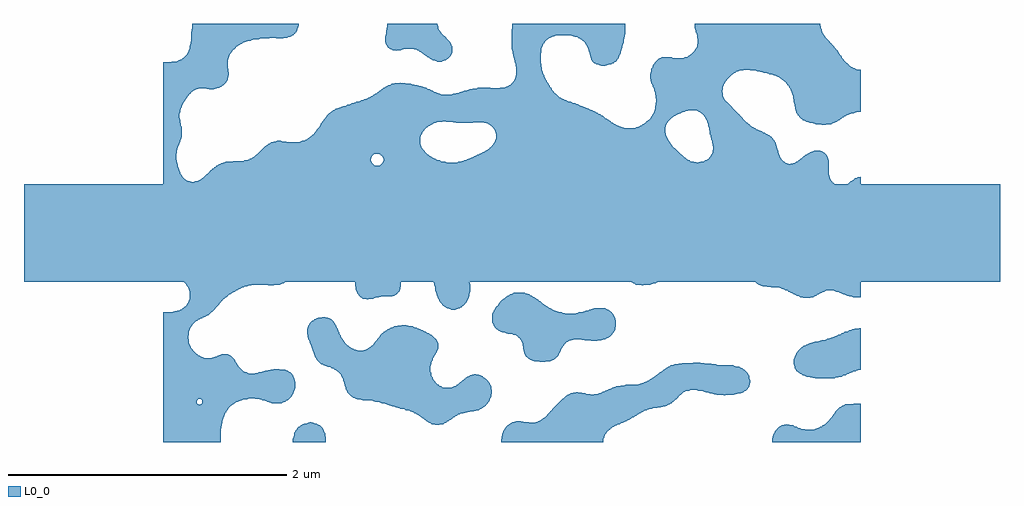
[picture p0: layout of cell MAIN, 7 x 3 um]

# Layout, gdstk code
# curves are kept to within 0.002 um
import gdstk
lib = gdstk.Library(unit=1e-6, precision=1e-09)
def R(c, l, rs):  # rectangles x0, y0, x1, y1
    for r in rs: c.add(gdstk.rectangle(r[:2], r[2:], *l))
def P(c, l, *ps):  # polygons
    for p in ps: c.add(gdstk.Polygon(p, *l))
L0_0 = (0, 0)

main = lib.new_cell('MAIN')
R(main, L0_0, [(-3.5,-0.35,3.5,0.35)])
P(main, L0_0, [(-0.51,1.23),(-0.474,1.24),(-0.46,1.249),(-0.44,1.27),(-0.43,1.293),(-0.429,1.33),(-0.44,1.361),(-0.47,1.397),(-0.503,1.43),(-0.525,1.46),(-0.535,1.5),(-0.894,1.5),(-0.903,1.43),(-0.91,1.404),(-0.91,1.378),(-0.9,1.346),(-0.89,1.332),(-0.876,1.32),(-0.855,1.31),(-0.83,1.308),(-0.799,1.31),(-0.78,1.317),(-0.73,1.322),(-0.69,1.317),(-0.68,1.31),(-0.67,1.308),(-0.603,1.26),(-0.569,1.24),(-0.536,1.23)],
  [(-1.07,-0.844),(-1.1,-0.844),(-1.13,-0.837),(-1.15,-0.827),(-1.18,-0.805),(-1.218,-0.76),(-1.27,-0.649),(-1.29,-0.627),(-1.314,-0.61),(-1.35,-0.603),(-1.396,-0.61),(-1.43,-0.629),(-1.451,-0.65),(-1.46,-0.664),(-1.47,-0.697),(-1.47,-0.72),(-1.46,-0.761),(-1.454,-0.77),(-1.45,-0.788),(-1.432,-0.83),(-1.42,-0.87),(-1.4,-0.909),(-1.38,-0.931),(-1.367,-0.94),(-1.321,-0.96),(-1.3,-0.964),(-1.291,-0.97),(-1.28,-0.972),(-1.26,-0.984),(-1.232,-1.01),(-1.214,-1.04),(-1.204,-1.07),(-1.2,-1.094),(-1.181,-1.14),(-1.16,-1.164),(-1.14,-1.18),(-1.116,-1.19),(-1.07,-1.199)],
  [(-0.569,-1.04),(-0.578,-1.02),(-0.586,-0.98),(-0.579,-0.93),(-0.569,-0.907),(-0.569,-0.74),(-0.598,-0.72),(-0.683,-0.68),(-0.712,-0.67),(-0.78,-0.66),(-0.84,-0.669),(-0.871,-0.68),(-0.891,-0.69),(-0.93,-0.72),(-1.01,-0.814),(-1.04,-0.834),(-1.07,-0.844),(-1.07,-1.199),(-1,-1.204),(-0.978,-1.21),(-0.95,-1.213),(-0.933,-1.22),(-0.91,-1.224),(-0.9,-1.23),(-0.88,-1.234),(-0.868,-1.24),(-0.85,-1.243),(-0.835,-1.25),(-0.82,-1.252),(-0.8,-1.26),(-0.78,-1.262),(-0.761,-1.27),(-0.74,-1.273),(-0.69,-1.294),(-0.66,-1.312),(-0.61,-1.351),(-0.569,-1.371)],
  [(-0.567,-0.9),(-0.54,-0.855),(-0.53,-0.831),(-0.529,-0.8),(-0.53,-0.79),(-0.539,-0.77),(-0.569,-0.74),(-0.569,-0.907)],
  [(-0.52,-1.375),(-0.492,-1.37),(-0.472,-1.36),(-0.39,-1.305),(-0.36,-1.293),(-0.336,-1.29),(-0.32,-1.284),(-0.275,-1.28),(-0.239,-1.27),(-0.219,-1.26),(-0.192,-1.24),(-0.16,-1.2),(-0.15,-1.176),(-0.146,-1.14),(-0.15,-1.099),(-0.159,-1.08),(-0.18,-1.053),(-0.208,-1.03),(-0.23,-1.019),(-0.27,-1.014),(-0.301,-1.02),(-0.32,-1.03),(-0.4,-1.094),(-0.43,-1.108),(-0.46,-1.111),(-0.49,-1.109),(-0.52,-1.096),(-0.558,-1.06),(-0.569,-1.04),(-0.569,-1.371),(-0.54,-1.376)],
  [(2.31,-1.04),(2.364,-1.03),(2.38,-1.022),(2.392,-1.02),(2.45,-0.992),(2.5,-0.982),(2.5,-0.683),(2.443,-0.69),(2.4,-0.708),(2.388,-0.71),(2.38,-0.716),(2.364,-0.72),(2.33,-0.737),(2.29,-0.75),(2.28,-0.756),(2.2,-0.777),(2.17,-0.78),(2.109,-0.8),(2.091,-0.81),(2.06,-0.837),(2.05,-0.848),(2.03,-0.881),(2.02,-0.916),(2.02,-0.943),(2.029,-0.97),(2.04,-0.987),(2.067,-1.01),(2.085,-1.02),(2.1,-1.023),(2.114,-1.03),(2.175,-1.04)],
  [(0.654,-1.49),(0.664,-1.45),(0.687,-1.42),(0.71,-1.401),(0.76,-1.373),(0.773,-1.37),(0.838,-1.34),(0.92,-1.291),(0.92,-1.082),(0.9,-1.088),(0.816,-1.09),(0.749,-1.1),(0.695,-1.12),(0.64,-1.147),(0.6,-1.158),(0.55,-1.158),(0.524,-1.15),(0.47,-1.143),(0.42,-1.15),(0.401,-1.16),(0.363,-1.19),(0.31,-1.241),(0.237,-1.32),(0.2,-1.347),(0.18,-1.356),(0.15,-1.36),(0.11,-1.359),(0.061,-1.35),(0.035,-1.35),(0,-1.359),(-0.02,-1.37),(-0.05,-1.401),(-0.07,-1.44),(-0.076,-1.5),(0.654,-1.5)],
  [(0.923,-1.29),(0.93,-1.284),(0.98,-1.263),(1.03,-1.252),(1.067,-1.25),(1.109,-1.24),(1.13,-1.23),(1.157,-1.21),(1.2,-1.167),(1.23,-1.143),(1.25,-1.133),(1.28,-1.126),(1.32,-1.125),(1.336,-1.13),(1.36,-1.132),(1.417,-1.15),(1.48,-1.161),(1.591,-1.16),(1.64,-1.15),(1.676,-1.13),(1.701,-1.1),(1.708,-1.06),(1.7,-1.025),(1.68,-0.995),(1.651,-0.97),(1.631,-0.96),(1.588,-0.95),(1.48,-0.947),(1.45,-0.94),(1.35,-0.932),(1.24,-0.934),(1.169,-0.94),(1.12,-0.96),(0.98,-1.058),(0.94,-1.077),(0.92,-1.082),(0.92,-1.291)],
  [(2.5,-1.224),(2.45,-1.224),(2.39,-1.23),(2.367,-1.24),(2.35,-1.25),(2.329,-1.27),(2.278,-1.34),(2.25,-1.367),(2.22,-1.388),(2.17,-1.408),(2.13,-1.412),(2.09,-1.409),(2.05,-1.396),(2.016,-1.38),(1.99,-1.375),(1.97,-1.373),(1.935,-1.38),(1.91,-1.397),(1.889,-1.42),(1.88,-1.435),(1.87,-1.459),(1.868,-1.5),(2.5,-1.5)],
  [(-1.336,-1.48),(-1.34,-1.438),(-1.35,-1.415),(-1.359,-1.4),(-1.38,-1.379),(-1.396,-1.37),(-1.427,-1.36),(-1.463,-1.36),(-1.497,-1.37),(-1.529,-1.39),(-1.54,-1.401),(-1.56,-1.434),(-1.57,-1.468),(-1.571,-1.5),(-1.336,-1.5)],
  [(-2.38,-0.029),(-2.339,-0.02),(-2.305,0.002),(-2.305,0.368),(-2.32,0.371),(-2.34,0.382),(-2.36,0.401),(-2.374,0.42),(-2.398,0.48),(-2.4,0.503),(-2.406,0.52),(-2.408,0.55),(-2.406,0.58),(-2.396,0.62),(-2.39,0.629),(-2.37,0.686),(-2.37,0.761),(-2.377,0.78),(-2.385,0.83),(-2.385,0.85),(-2.377,0.89),(-2.348,0.95),(-2.327,0.98),(-2.305,1.004),(-2.305,1.36),(-2.313,1.32),(-2.326,1.29),(-2.341,1.27),(-2.36,1.253),(-2.4,1.233),(-2.45,1.225),(-2.5,1.224),(-2.5,-0.02),(-2.45,-0.021),(-2.4,-0.029)],
  [(-2.305,-1.5),(-2.305,-0.818),(-2.317,-0.79),(-2.322,-0.75),(-2.316,-0.7),(-2.305,-0.677),(-2.305,-0.153),(-2.341,-0.16),(-2.371,-0.18),(-2.39,-0.203),(-2.4,-0.228),(-2.401,-0.24),(-2.4,-0.27),(-2.39,-0.297),(-2.37,-0.328),(-2.336,-0.37),(-2.323,-0.39),(-2.315,-0.41),(-2.311,-0.43),(-2.311,-0.46),(-2.314,-0.48),(-2.323,-0.5),(-2.35,-0.533),(-2.37,-0.548),(-2.39,-0.557),(-2.45,-0.567),(-2.5,-0.567),(-2.5,-1.5)],
  [(-2.299,1.01),(-2.28,1.025),(-2.25,1.036),(-2.22,1.038),(-2.15,1.03),(-2.105,1.04),(-2.082,1.052),(-2.082,1.5),(-2.293,1.5),(-2.305,1.36),(-2.305,1.004)],
  [(-2.3,0.006),(-2.25,0.044),(-2.23,0.057),(-2.217,0.06),(-2.21,0.065),(-2.16,0.074),(-2.082,0.078),(-2.082,0.501),(-2.106,0.49),(-2.136,0.47),(-2.21,0.401),(-2.25,0.374),(-2.28,0.366),(-2.305,0.368),(-2.305,0.002)],
  [(-2.3,-0.671),(-2.294,-0.66),(-2.27,-0.636),(-2.25,-0.622),(-2.18,-0.589),(-2.15,-0.565),(-2.082,-0.488),(-2.082,-0.133),(-2.13,-0.159),(-2.16,-0.168),(-2.21,-0.167),(-2.229,-0.16),(-2.29,-0.152),(-2.305,-0.153),(-2.305,-0.677)],
  [(-2.089,-1.44),(-2.085,-1.39),(-2.082,-1.383),(-2.082,-0.87),(-2.15,-0.895),(-2.17,-0.898),(-2.2,-0.897),(-2.25,-0.877),(-2.28,-0.85),(-2.305,-0.818),(-2.305,-1.21),(-2.262,-1.21),(-2.259,-1.2),(-2.25,-1.19),(-2.24,-1.188),(-2.23,-1.191),(-2.222,-1.2),(-2.22,-1.21),(-2.223,-1.22),(-2.23,-1.229),(-2.24,-1.233),(-2.251,-1.23),(-2.26,-1.22),(-2.262,-1.21),(-2.305,-1.21),(-2.305,-1.5),(-2.089,-1.5)],
  [(-2.08,1.054),(-2.07,1.06),(-2.05,1.08),(-2.039,1.1),(-2.033,1.14),(-2.039,1.23),(-2.036,1.25),(-2.024,1.28),(-2.003,1.31),(-1.96,1.348),(-1.93,1.364),(-1.89,1.378),(-1.89,1.5),(-2.082,1.5),(-2.082,1.052)],
  [(-1.93,0.516),(-2.053,0.51),(-2.082,0.501),(-2.082,0.078),(-2.062,0.08),(-2.035,0.09),(-2,0.109),(-1.94,0.148),(-1.91,0.16),(-1.9,0.167),(-1.89,0.169),(-1.89,0.525)],
  [(-2.07,-0.476),(-2.03,-0.444),(-1.98,-0.413),(-1.949,-0.4),(-1.94,-0.393),(-1.91,-0.383),(-1.89,-0.38),(-1.89,-0.21),(-1.91,-0.207),(-1.93,-0.196),(-1.99,-0.14),(-2.006,-0.13),(-2.04,-0.122),(-2.082,-0.133),(-2.082,-0.488)],
  [(-2.081,-1.38),(-2.077,-1.35),(-2.064,-1.31),(-2.036,-1.26),(-2.02,-1.243),(-1.98,-1.214),(-1.96,-1.205),(-1.938,-1.2),(-1.93,-1.195),(-1.89,-1.19),(-1.89,-1.006),(-1.92,-0.995),(-1.939,-0.98),(-1.967,-0.95),(-1.989,-0.91),(-2.006,-0.89),(-2.018,-0.88),(-2.04,-0.869),(-2.082,-0.87)],
  [(-1.88,1.379),(-1.85,1.388),(-1.817,1.39),(-1.8,1.395),(-1.77,1.398),(-1.62,1.399),(-1.62,1.5),(-1.89,1.5),(-1.89,1.378)],
  [(-1.62,0.653),(-1.658,0.66),(-1.683,0.66),(-1.725,0.65),(-1.76,0.63),(-1.84,0.553),(-1.87,0.533),(-1.89,0.525),(-1.89,0.52),(-1.62,0.52)],
  [(-1.883,0.17),(-1.73,0.218),(-1.69,0.221),(-1.66,0.219),(-1.63,0.208),(-1.62,0.2),(-1.62,0.52),(-1.89,0.52),(-1.89,0.169)],
  [(-1.88,-0.375),(-1.84,-0.371),(-1.71,-0.373),(-1.667,-0.37),(-1.62,-0.351),(-1.62,-0.007),(-1.672,-0.04),(-1.694,-0.06),(-1.73,-0.1),(-1.772,-0.16),(-1.81,-0.195),(-1.84,-0.209),(-1.87,-0.213),(-1.89,-0.21),(-1.89,-0.38)],
  [(-1.85,-1.186),(-1.8,-1.194),(-1.724,-1.22),(-1.7,-1.222),(-1.652,-1.22),(-1.62,-1.204),(-1.62,-0.985),(-1.628,-0.98),(-1.67,-0.976),(-1.71,-0.978),(-1.777,-0.99),(-1.79,-0.996),(-1.818,-1),(-1.84,-1.007),(-1.89,-1.006),(-1.89,-1.19)],
  [(-1.612,1.4),(-1.585,1.41),(-1.57,1.419),(-1.549,1.44),(-1.54,1.455),(-1.53,1.489),(-1.53,1.5),(-1.62,1.5),(-1.62,1.399)],
  [(-1.19,0.914),(-1.211,0.91),(-1.263,0.89),(-1.308,0.86),(-1.35,0.812),(-1.405,0.73),(-1.44,0.694),(-1.47,0.673),(-1.52,0.653),(-1.56,0.65),(-1.62,0.653),(-1.62,0.52),(-1.18,0.52),(-1.18,0.92)],
  [(-1.617,-0.35),(-1.599,-0.34),(-1.55,-0.302),(-1.52,-0.285),(-1.48,-0.273),(-1.44,-0.27),(-1.403,-0.26),(-1.386,-0.25),(-1.37,-0.236),(-1.35,-0.207),(-1.335,-0.16),(-1.317,-0.12),(-1.291,-0.09),(-1.27,-0.073),(-1.25,-0.064),(-1.23,-0.061),(-1.2,-0.062),(-1.18,-0.07),(-1.18,0.52),(-1.62,0.52),(-1.62,0.2),(-1.607,0.19),(-1.582,0.16),(-1.564,0.12),(-1.561,0.1),(-1.562,0.07),(-1.574,0.04),(-1.62,-0.007),(-1.62,-0.351)],
  [(-1.611,-1.2),(-1.58,-1.17),(-1.57,-1.153),(-1.56,-1.132),(-1.553,-1.09),(-1.56,-1.042),(-1.57,-1.024),(-1.59,-1),(-1.62,-0.985),(-1.62,-1.204)],
  [(-0.659,0.68),(-0.656,0.695),(-0.656,1.052),(-0.679,1.06),(-0.71,1.064),(-0.726,1.07),(-0.8,1.077),(-0.861,1.07),(-0.87,1.064),(-0.886,1.06),(-0.92,1.041),(-0.97,1.003),(-1.02,0.973),(-1.07,0.953),(-1.117,0.94),(-1.13,0.933),(-1.148,0.93),(-1.16,0.923),(-1.18,0.92),(-1.18,0.65),(-0.659,0.65)],
  [(-1,-0.471),(-0.98,-0.463),(-0.94,-0.456),(-0.85,-0.451),(-0.828,-0.44),(-0.81,-0.421),(-0.8,-0.4),(-0.797,-0.35),(-0.8,-0.297),(-0.805,-0.28),(-0.807,-0.25),(-0.806,-0.23),(-0.794,-0.19),(-0.77,-0.16),(-0.75,-0.144),(-0.74,-0.141),(-0.71,-0.138),(-0.68,-0.142),(-0.656,-0.151),(-0.656,0.63),(-0.659,0.65),(-1.18,0.65),(-1.18,0.52),(-1.014,0.52),(-1.014,0.53),(-1.006,0.55),(-0.99,0.564),(-0.97,0.569),(-0.95,0.566),(-0.941,0.56),(-0.923,0.54),(-0.921,0.53),(-0.923,0.51),(-0.929,0.5),(-0.95,0.484),(-0.96,0.482),(-0.98,0.483),(-0.99,0.488),(-1.004,0.5),(-1.014,0.52),(-1.18,0.52),(-1.18,-0.07),(-1.16,-0.081),(-1.123,-0.12),(-1.113,-0.14),(-1.104,-0.17),(-1.103,-0.22),(-1.115,-0.28),(-1.12,-0.29),(-1.122,-0.31),(-1.124,-0.37),(-1.12,-0.406),(-1.11,-0.431),(-1.1,-0.445),(-1.07,-0.47),(-1.04,-0.474)],
  [(-0.654,0.7),(-0.638,0.73),(-0.619,0.75),(-0.6,0.766),(-0.56,0.788),(-0.546,0.79),(-0.53,0.797),(-0.49,0.8),(-0.41,0.794),(-0.41,1),(-0.44,0.992),(-0.48,0.991),(-0.51,0.995),(-0.56,1.013),(-0.569,1.02),(-0.614,1.04),(-0.641,1.05),(-0.656,1.052),(-0.656,0.695)],
  [(-0.41,-0.115),(-0.45,-0.097),(-0.47,-0.082),(-0.484,-0.07),(-0.508,-0.04),(-0.537,0.01),(-0.54,0.023),(-0.545,0.03),(-0.551,0.07),(-0.548,0.1),(-0.53,0.13),(-0.5,0.157),(-0.438,0.19),(-0.41,0.212),(-0.41,0.504),(-0.44,0.503),(-0.5,0.512),(-0.56,0.535),(-0.59,0.552),(-0.62,0.577),(-0.647,0.61),(-0.656,0.63),(-0.656,-0.151),(-0.63,-0.164),(-0.61,-0.18),(-0.582,-0.21),(-0.572,-0.23),(-0.564,-0.26),(-0.56,-0.357),(-0.55,-0.412),(-0.54,-0.446),(-0.519,-0.49),(-0.493,-0.52),(-0.465,-0.54),(-0.434,-0.55),(-0.41,-0.55)],
  [(-0.12,0.727),(-0.114,0.71),(-0.113,0.69),(-0.124,0.65),(-0.147,0.62),(-0.18,0.593),(-0.22,0.572),(-0.251,0.56),(-0.26,0.553),(-0.27,0.551),(-0.28,0.544),(-0.33,0.523),(-0.36,0.513),(-0.41,0.504),(-0.41,0.212),(-0.349,0.27),(-0.33,0.284),(-0.29,0.297),(-0.26,0.296),(-0.23,0.285),(-0.2,0.266),(-0.17,0.238),(-0.12,0.183),(-0.086,0.152),(-0.086,1.04),(-0.1,1.037),(-0.18,1.041),(-0.246,1.04),(-0.303,1.03),(-0.32,1.023),(-0.342,1.02),(-0.35,1.015),(-0.375,1.01),(-0.39,1.003),(-0.41,1),(-0.41,0.794),(-0.38,0.789),(-0.3,0.789),(-0.24,0.796),(-0.21,0.795),(-0.18,0.788),(-0.16,0.778),(-0.138,0.76),(-0.123,0.74)],
  [(-0.4,-0.548),(-0.376,-0.54),(-0.36,-0.531),(-0.329,-0.5),(-0.32,-0.485),(-0.309,-0.46),(-0.3,-0.421),(-0.3,-0.375),(-0.306,-0.35),(-0.31,-0.309),(-0.316,-0.29),(-0.32,-0.228),(-0.33,-0.181),(-0.34,-0.161),(-0.36,-0.139),(-0.392,-0.12),(-0.41,-0.115),(-0.41,-0.55)],
  [(0.328,0.984),(0.301,1.01),(0.272,1.05),(0.233,1.12),(0.214,1.17),(0.205,1.24),(0.205,1.28),(0.211,1.32),(0.213,1.33),(0.228,1.36),(0.25,1.386),(0.27,1.399),(0.29,1.408),(0.328,1.418),(0.328,1.5),(0,1.5),(-0.003,1.4),(-0.001,1.32),(0.01,1.266),(0.017,1.25),(0.02,1.223),(0.028,1.2),(0.028,1.12),(0.014,1.09),(-0.01,1.065),(-0.03,1.052),(-0.041,1.05),(-0.05,1.044),(-0.086,1.04),(-0.086,0.74),(0.328,0.74)],
  [(0.09,-0.213),(0.112,-0.21),(0.133,-0.2),(0.23,-0.132),(0.328,-0.088),(0.328,0.11),(0.323,0.12),(0.314,0.16),(0.315,0.18),(0.323,0.21),(0.328,0.218),(0.328,0.74),(-0.086,0.74),(-0.086,0.152),(-0.033,0.1),(-0.022,0.08),(-0.019,0.05),(-0.022,0.02),(-0.04,-0.025),(-0.049,-0.07),(-0.049,-0.09),(-0.04,-0.132),(-0.03,-0.154),(-0.02,-0.17),(0,-0.191),(0.03,-0.21),(0.06,-0.215)],
  [(0.69,1.206),(0.712,1.21),(0.73,1.219),(0.75,1.237),(0.77,1.266),(0.771,1.5),(0.328,1.5),(0.328,1.418),(0.4,1.419),(0.43,1.416),(0.444,1.41),(0.46,1.408),(0.5,1.387),(0.527,1.36),(0.539,1.34),(0.548,1.32),(0.56,1.267),(0.57,1.244),(0.59,1.219),(0.605,1.21),(0.639,1.2),(0.67,1.2)],
  [(0.771,0.764),(0.72,0.791),(0.65,0.84),(0.596,0.87),(0.503,0.91),(0.49,0.913),(0.479,0.92),(0.38,0.953),(0.37,0.96),(0.36,0.962),(0.328,0.984),(0.328,0.74),(0.771,0.74)],
  [(0.7,0.186),(0.76,0.19),(0.771,0.194),(0.771,0.74),(0.328,0.74),(0.328,0.218),(0.332,0.23),(0.346,0.25),(0.38,0.284),(0.4,0.297),(0.42,0.305),(0.45,0.309),(0.47,0.307),(0.5,0.296),(0.53,0.276),(0.59,0.219),(0.62,0.199),(0.639,0.19),(0.68,0.185)],
  [(0.33,-0.086),(0.351,-0.07),(0.37,-0.042),(0.375,0),(0.37,0.031),(0.328,0.11),(0.328,-0.088)],
  [(0.773,1.28),(0.78,1.291),(0.783,1.31),(0.79,1.327),(0.793,1.35),(0.8,1.366),(0.81,1.416),(0.813,1.5),(0.771,1.5),(0.771,1.27)],
  [(1.1,0.748),(1.102,0.77),(1.112,0.79),(1.127,0.81),(1.15,0.829),(1.15,1.258),(1.12,1.262),(1.074,1.26),(1.054,1.25),(1.03,1.229),(1.01,1.199),(1,1.177),(0.99,1.136),(0.99,1.116),(1,1.075),(1.026,1.01),(1.033,0.96),(1.027,0.89),(1.017,0.86),(1.006,0.84),(0.97,0.801),(0.95,0.785),(0.91,0.763),(0.88,0.753),(0.84,0.75),(0.81,0.752),(0.771,0.764),(0.771,0.74),(1.099,0.74)],
  [(1.15,0.626),(1.123,0.66),(1.12,0.67),(1.112,0.68),(1.11,0.691),(1.104,0.7),(1.099,0.74),(0.771,0.74),(0.771,0.194),(0.811,0.2),(0.82,0.205),(0.844,0.21),(0.93,0.246),(0.98,0.251),(1.01,0.245),(1.04,0.221),(1.056,0.2),(1.067,0.17),(1.07,0.144),(1.08,0.109),(1.1,0.069),(1.138,0.01),(1.15,-0.023)],
  [(2.24,-0.42),(2.26,-0.412),(2.31,-0.413),(2.404,-0.45),(2.449,-0.46),(2.5,-0.461),(2.5,-0.059),(2.4,-0.058),(2.37,-0.048),(2.35,-0.037),(2.315,0),(2.305,0.02),(2.294,0.07),(2.295,0.09),(2.303,0.12),(2.322,0.15),(2.35,0.175),(2.37,0.185),(2.42,0.198),(2.5,0.199),(2.5,0.402),(2.479,0.4),(2.458,0.39),(2.41,0.353),(2.39,0.343),(2.35,0.339),(2.33,0.342),(2.31,0.353),(2.286,0.38),(2.274,0.41),(2.271,0.43),(2.27,0.522),(2.261,0.55),(2.245,0.57),(2.233,0.58),(2.22,0.585),(2.22,-0.429),(2.23,-0.422)],
  [(1.522,1.07),(1.533,1.09),(1.59,1.146),(1.61,1.157),(1.65,1.169),(1.7,1.17),(1.75,1.165),(1.76,1.16),(1.79,1.156),(1.804,1.15),(1.87,1.136),(1.879,1.13),(1.9,1.124),(1.931,1.107),(1.931,1.5),(1.52,1.5),(1.52,1.063)],
  [(1.875,-0.02),(1.882,0.02),(1.892,0.04),(1.908,0.06),(1.931,0.079),(1.931,0.53),(1.915,0.56),(1.9,0.623),(1.89,0.649),(1.859,0.69),(1.831,0.71),(1.75,0.745),(1.72,0.762),(1.69,0.786),(1.54,0.94),(1.524,0.96),(1.52,0.97),(1.52,-0.03),(1.875,-0.03)],
  [(1.931,-0.126),(1.92,-0.118),(1.895,-0.09),(1.884,-0.07),(1.875,-0.03),(1.52,-0.03),(1.52,-0.198),(1.55,-0.213),(1.66,-0.285),(1.7,-0.313),(1.74,-0.35),(1.77,-0.371),(1.789,-0.38),(1.86,-0.39),(1.92,-0.393),(1.931,-0.398)],
  [(2.215,1.47),(2.212,1.5),(1.931,1.5),(1.931,1.107),(1.963,1.08),(1.988,1.05),(1.998,1.03),(2.016,0.98),(2.03,0.89),(2.036,0.88),(2.04,0.862),(2.06,0.832),(2.087,0.81),(2.135,0.79),(2.17,0.785),(2.182,0.78),(2.22,0.777),(2.22,1.46)],
  [(2.14,-0.463),(2.161,-0.46),(2.22,-0.429),(2.22,0.585),(2.2,0.591),(2.169,0.59),(2.14,0.58),(2.107,0.56),(2.05,0.514),(2.03,0.503),(2.01,0.497),(1.99,0.494),(1.96,0.503),(1.931,0.53),(1.931,0.079),(1.96,0.096),(2,0.106),(2.03,0.108),(2.07,0.099),(2.09,0.088),(2.126,0.05),(2.135,0.03),(2.147,-0.02),(2.145,-0.05),(2.136,-0.08),(2.11,-0.113),(2.08,-0.134),(2.04,-0.147),(1.99,-0.148),(1.95,-0.137),(1.931,-0.126),(1.931,-0.398),(1.95,-0.403),(2.001,-0.43),(2.01,-0.432),(2.02,-0.44),(2.06,-0.454),(2.069,-0.46),(2.11,-0.465)],
  [(2.29,0.78),(2.332,0.8),(2.37,0.827),(2.41,0.849),(2.46,0.864),(2.5,0.868),(2.5,1.171),(2.47,1.174),(2.45,1.182),(2.43,1.193),(2.39,1.23),(2.372,1.25),(2.33,1.312),(2.243,1.41),(2.225,1.44),(2.22,1.459),(2.22,0.777),(2.25,0.776)],
  [(1.52,0.7),(1.424,0.7),(1.43,0.67),(1.438,0.65),(1.442,0.62),(1.443,0.6),(1.437,0.57),(1.425,0.55),(1.41,0.534),(1.37,0.512),(1.33,0.505),(1.28,0.515),(1.25,0.532),(1.22,0.556),(1.18,0.593),(1.15,0.626),(1.15,-0.023),(1.155,-0.03),(1.17,-0.073),(1.186,-0.1),(1.207,-0.12),(1.225,-0.13),(1.303,-0.16),(1.32,-0.163),(1.335,-0.17),(1.4,-0.18),(1.47,-0.182),(1.52,-0.198)],
  [(1.52,0.971),(1.513,0.98),(1.509,1.01),(1.513,1.05),(1.52,1.063),(1.52,1.5),(1.309,1.5),(1.31,1.47),(1.327,1.42),(1.334,1.38),(1.328,1.34),(1.319,1.32),(1.29,1.285),(1.25,1.261),(1.241,1.26),(1.23,1.254),(1.21,1.252),(1.18,1.252),(1.15,1.258),(1.15,0.829),(1.16,0.837),(1.2,0.857),(1.25,0.876),(1.29,0.881),(1.33,0.877),(1.35,0.867),(1.369,0.85),(1.386,0.83),(1.397,0.81),(1.407,0.78),(1.42,0.709),(1.424,0.7),(1.52,0.7)],
  [(0.99,-0.37),(1.028,-0.36),(1.073,-0.34),(1.105,-0.32),(1.13,-0.298),(1.151,-0.26),(1.152,-0.22),(1.15,-0.208),(1.141,-0.19),(1.118,-0.17),(1.092,-0.16),(1.03,-0.153),(0.95,-0.157),(0.92,-0.153),(0.89,-0.144),(0.86,-0.121),(0.844,-0.1),(0.822,-0.05),(0.82,-0.039),(0.8,-0.01),(0.785,0),(0.77,0.003),(0.744,0),(0.73,-0.011),(0.72,-0.03),(0.72,-0.07),(0.74,-0.112),(0.787,-0.17),(0.806,-0.2),(0.826,-0.26),(0.83,-0.295),(0.84,-0.325),(0.85,-0.342),(0.87,-0.361),(0.89,-0.371),(0.94,-0.375)],
  [(0.27,-0.92),(0.27,-0.539),(0.22,-0.506),(0.161,-0.46),(0.123,-0.44),(0.093,-0.43),(0.013,-0.43),(-0.03,-0.449),(-0.08,-0.491),(-0.12,-0.54),(-0.131,-0.56),(-0.14,-0.58),(-0.142,-0.63),(-0.14,-0.644),(-0.13,-0.665),(-0.11,-0.69),(-0.077,-0.71),(-0.042,-0.72),(0,-0.724),(0.03,-0.734),(0.05,-0.75),(0.068,-0.77),(0.076,-0.79),(0.08,-0.828),(0.09,-0.868),(0.1,-0.884),(0.131,-0.91),(0.17,-0.921),(0.24,-0.923)],
  [(0.273,-0.92),(0.297,-0.91),(0.322,-0.89),(0.34,-0.864),(0.355,-0.83),(0.374,-0.8),(0.39,-0.785),(0.41,-0.773),(0.45,-0.763),(0.48,-0.763),(0.54,-0.771),(0.64,-0.77),(0.673,-0.76),(0.706,-0.74),(0.73,-0.713),(0.741,-0.69),(0.745,-0.66),(0.743,-0.63),(0.74,-0.61),(0.733,-0.6),(0.73,-0.589),(0.704,-0.56),(0.69,-0.549),(0.67,-0.54),(0.592,-0.54),(0.54,-0.557),(0.52,-0.56),(0.51,-0.566),(0.46,-0.576),(0.39,-0.578),(0.33,-0.566),(0.27,-0.539),(0.27,-0.92)])

lib.write_gds('MAIN.gds')
